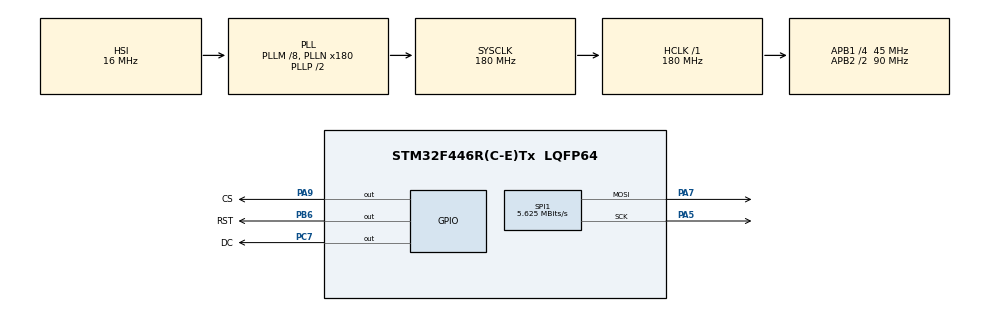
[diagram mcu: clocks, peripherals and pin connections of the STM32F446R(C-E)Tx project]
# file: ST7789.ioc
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Mcu.Family=STM32F4
Mcu.Name=STM32F446R(C-E)Tx
Mcu.Package=LQFP64
NVIC.PriorityGroup=NVIC_PRIORITYGROUP_4
PA13.Mode=Serial_Wire
PA13.Signal=SYS_JTMS-SWDIO
PA14.Mode=Serial_Wire
PA14.Signal=SYS_JTCK-SWCLK
PA5.Mode=TX_Only_Simplex_Unidirect_Master
PA5.Signal=SPI1_SCK
PA7.Mode=TX_Only_Simplex_Unidirect_Master
PA7.Signal=SPI1_MOSI
PA9.GPIO_Label=CS
PA9.GPIO_Speed=GPIO_SPEED_FREQ_VERY_HIGH
PA9.PinState=GPIO_PIN_SET
PA9.Signal=GPIO_Output
PB6.GPIO_Label=RST
PB6.GPIO_Speed=GPIO_SPEED_FREQ_VERY_HIGH
PB6.Signal=GPIO_Output
PC7.GPIO_Label=DC
PC7.GPIO_Speed=GPIO_SPEED_FREQ_VERY_HIGH
PC7.Signal=GPIO_Output
ProjectManager.HeapSize=0x200
ProjectManager.StackSize=0x400
ProjectManager.TargetToolchain=STM32CubeIDE
RCC.AHBFreq_Value=180000000
RCC.APB1CLKDivider=RCC_HCLK_DIV4
RCC.APB1Freq_Value=45000000
RCC.APB1TimFreq_Value=90000000
RCC.APB2CLKDivider=RCC_HCLK_DIV2
RCC.APB2Freq_Value=90000000
RCC.APB2TimFreq_Value=180000000
RCC.CortexFreq_Value=180000000
RCC.HCLKFreq_Value=180000000
RCC.PLLM=8
RCC.PLLN=180
RCC.SYSCLKFreq_VALUE=180000000
RCC.SYSCLKSource=RCC_SYSCLKSOURCE_PLLCLK
RCC.USBFreq_Value=180000000
RCC.VCOOutputFreq_Value=360000000
SPI1.BaudRatePrescaler=SPI_BAUDRATEPRESCALER_16
SPI1.CLKPhase=SPI_PHASE_2EDGE
SPI1.CLKPolarity=SPI_POLARITY_HIGH
SPI1.CalculateBaudRate=5.625 MBits/s
SPI1.Direction=SPI_DIRECTION_2LINES
SPI1.Mode=SPI_MODE_MASTER
SPI1.VirtualType=VM_MASTER
board=custom

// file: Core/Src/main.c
/* USER CODE BEGIN Header */
/**
  ******************************************************************************
  * @file           : main.c
  * @brief          : Main program body
  ******************************************************************************
  * @attention
  *
  * Copyright (c) 2024 STMicroelectronics.
  * All rights reserved.
  *
  * This software is licensed under terms that can be found in the LICENSE file
  * in the root directory of this software component.
  * If no LICENSE file comes with this software, it is provided AS-IS.
  *
  ******************************************************************************
  */
/* USER CODE END Header */
#include "main.h"

/* USER CODE BEGIN Includes */
#include "stdio.h"
#include "Anglas_ST7789.h"
#include "fonts.h"
#include "math.h"
#include "bitmap.h"
#include "stdio.h"

/* USER CODE END Includes */

SPI_HandleTypeDef hspi1;

/* USER CODE BEGIN PV */
uint16_t contInt=0;
float contFloat=0.0;
char buff[32];
/* USER CODE END PV */

void SystemClock_Config(void);
static void MX_GPIO_Init(void);
static void MX_SPI1_Init(void);

int main(void)
{

  /* MCU Configuration--------------------------------------------------------*/

  /* Reset of all peripherals, Initializes the Flash interface and the Systick. */
  HAL_Init();

  /* Configure the system clock */
  SystemClock_Config();

  /* Initialize all configured peripherals */
  MX_GPIO_Init();
  MX_SPI1_Init();
  /* USER CODE BEGIN 2 */
  //pin BLK conectar a +3.3v, sino no funciona bien
  ST7789_Init();
  ST7789_rotation(4);

  /*ST7789_FillScreen(ST7789_RED);
  HAL_Delay(500);
  ST7789_FillScreen(ST7789_BLUE);
  HAL_Delay(500);
  ST7789_FillScreen(ST7789_GREEN);
  HAL_Delay(500);
  ST7789_FillScreen(ST7789_CYAN);
  HAL_Delay(500);
  ST7789_FillScreen(ST7789_BLACK);
  HAL_Delay(500);
  ST7789_FillScreen(ST7789_MAGENTA);
  HAL_Delay(500);
  ST7789_FillScreen(ST7789_YELLOW);
  HAL_Delay(500);
  ST7789_FillScreen(ST7789_WHITE);
  HAL_Delay(500);*/

  //ST7789_FillScreen(RGB565(0, 10, 100));
  ST7789_DrawImage(0, 0, 320, 170, korn_320x170);
  HAL_Delay(5000);
  ST7789_DrawImage(0, 0, 320, 170, blink_320x170);
  HAL_Delay(5000);
  ST7789_DrawImage(0, 0, 320, 170, shenanigans_320x170);
  HAL_Delay(5000);

  /*ST7789_DrawImage(0, 0, 240, 135, img3);
  HAL_Delay(1000);
  ST7789_DrawImage(0, 0, 240, 135, img2);
  HAL_Delay(3000);
  ST7789_DrawImage(0, 0, 240, 135, img1);
  HAL_Delay(3000);*/

  ST7789_print(50, 20, RGB565(255, 255, 255) , RGB565(0, 80, 100) , 1, &Font_16x26, 1, "STM32 TFT" );
  ST7789_print(40, 60, RGB565(255, 0, 0) , RGB565(0, 10, 100) , 1, &Font_11x18, 1, "Anglas Library" );
  ST7789_print(10, 100, RGB565(0, 255, 0) , RGB565(0, 10, 100) , 1, &Font_7x9, 2, "ST7789 : 135x240" );

  HAL_Delay(2000);
  ST7789_SleepModeEnter();//ingresa al modo sleep, pantalla negra, supongo que aqui consume poco, aun no mido los mA
  HAL_Delay(1000);
  ST7789_SleepModeExit();//sale del modo sleep, se tiene que salir si se entra
  HAL_Delay(1000);
  ST7789_DisplayPower(1);//en 0 muestra pantalla negra y en 1 muestra lo que tenga que mostrar
  HAL_Delay(1000);
  ST7789_InversionMode(1);//en 0 invierte los colores en 1 mantiene todo normal (blanco lo vuelve negro, rojo a celeste y verde a fucsia)
  ST7789_Clear();//limpia todo y lo vuelve pantalla negra
  ST7789_FillScreen(RGB565(0, 10, 100));//pinta toda la pantalla un color

  /* USER CODE END 2 */

  /* Infinite loop */
  /* USER CODE BEGIN WHILE */
  while (1)
  {
      contInt++;
      sprintf(buff,"INT: %dmA",contInt);
      ST7789_print(50, 20, RGB565(255, 255, 255) , RGB565(0, 10, 100) , 1, &Font_16x26, 1, buff);//135x240

      contFloat+=0.1;
      sprintf(buff,"FLOAT: %4.2fV",contFloat);
      ST7789_print(40, 60, RGB565(255, 0, 0) , RGB565(0, 10, 100) , 1, &Font_11x18, 1, buff);//135x240

    /* USER CODE END WHILE */

  }
}

void SystemClock_Config(void)
{
  RCC_OscInitTypeDef RCC_OscInitStruct = {0};
  RCC_ClkInitTypeDef RCC_ClkInitStruct = {0};

  /** Configure the main internal regulator output voltage
  */
  __HAL_RCC_PWR_CLK_ENABLE();
  __HAL_PWR_VOLTAGESCALING_CONFIG(PWR_REGULATOR_VOLTAGE_SCALE1);

  /** Initializes the RCC Oscillators according to the specified parameters
  * in the RCC_OscInitTypeDef structure.
  */
  RCC_OscInitStruct.OscillatorType = RCC_OSCILLATORTYPE_HSI;
  RCC_OscInitStruct.HSIState = RCC_HSI_ON;
  RCC_OscInitStruct.HSICalibrationValue = RCC_HSICALIBRATION_DEFAULT;
  RCC_OscInitStruct.PLL.PLLState = RCC_PLL_ON;
  RCC_OscInitStruct.PLL.PLLSource = RCC_PLLSOURCE_HSI;
  RCC_OscInitStruct.PLL.PLLM = 8;
  RCC_OscInitStruct.PLL.PLLN = 180;
  RCC_OscInitStruct.PLL.PLLP = RCC_PLLP_DIV2;
  RCC_OscInitStruct.PLL.PLLQ = 2;
  RCC_OscInitStruct.PLL.PLLR = 2;
  if (HAL_RCC_OscConfig(&RCC_OscInitStruct) != HAL_OK)
  {
    Error_Handler();
  }

  /** Activate the Over-Drive mode
  */
  if (HAL_PWREx_EnableOverDrive() != HAL_OK)
  {
    Error_Handler();
  }

  /** Initializes the CPU, AHB and APB buses clocks
  */
  RCC_ClkInitStruct.ClockType = RCC_CLOCKTYPE_HCLK|RCC_CLOCKTYPE_SYSCLK
                              |RCC_CLOCKTYPE_PCLK1|RCC_CLOCKTYPE_PCLK2;
  RCC_ClkInitStruct.SYSCLKSource = RCC_SYSCLKSOURCE_PLLCLK;
  RCC_ClkInitStruct.AHBCLKDivider = RCC_SYSCLK_DIV1;
  RCC_ClkInitStruct.APB1CLKDivider = RCC_HCLK_DIV4;
  RCC_ClkInitStruct.APB2CLKDivider = RCC_HCLK_DIV2;

  if (HAL_RCC_ClockConfig(&RCC_ClkInitStruct, FLASH_LATENCY_5) != HAL_OK)
  {
    Error_Handler();
  }
}

static void MX_SPI1_Init(void)
{

  /* SPI1 parameter configuration*/
  hspi1.Instance = SPI1;
  hspi1.Init.Mode = SPI_MODE_MASTER;
  hspi1.Init.Direction = SPI_DIRECTION_2LINES;
  hspi1.Init.DataSize = SPI_DATASIZE_8BIT;
  hspi1.Init.CLKPolarity = SPI_POLARITY_HIGH;
  hspi1.Init.CLKPhase = SPI_PHASE_2EDGE;
  hspi1.Init.NSS = SPI_NSS_SOFT;
  hspi1.Init.BaudRatePrescaler = SPI_BAUDRATEPRESCALER_16;
  hspi1.Init.FirstBit = SPI_FIRSTBIT_MSB;
  hspi1.Init.TIMode = SPI_TIMODE_DISABLE;
  hspi1.Init.CRCCalculation = SPI_CRCCALCULATION_DISABLE;
  hspi1.Init.CRCPolynomial = 10;
  if (HAL_SPI_Init(&hspi1) != HAL_OK)
  {
    Error_Handler();
  }

}

static void MX_GPIO_Init(void)
{
  GPIO_InitTypeDef GPIO_InitStruct = {0};

  /* GPIO Ports Clock Enable */
  __HAL_RCC_GPIOA_CLK_ENABLE();
  __HAL_RCC_GPIOC_CLK_ENABLE();
  __HAL_RCC_GPIOB_CLK_ENABLE();

  /*Configure GPIO pin Output Level */
  HAL_GPIO_WritePin(DC_GPIO_Port, DC_Pin, GPIO_PIN_RESET);

  /*Configure GPIO pin Output Level */
  HAL_GPIO_WritePin(CS_GPIO_Port, CS_Pin, GPIO_PIN_SET);

  /*Configure GPIO pin Output Level */
  HAL_GPIO_WritePin(RST_GPIO_Port, RST_Pin, GPIO_PIN_RESET);

  /*Configure GPIO pin : DC_Pin */
  GPIO_InitStruct.Pin = DC_Pin;
  GPIO_InitStruct.Mode = GPIO_MODE_OUTPUT_PP;
  GPIO_InitStruct.Pull = GPIO_NOPULL;
  GPIO_InitStruct.Speed = GPIO_SPEED_FREQ_VERY_HIGH;
  HAL_GPIO_Init(DC_GPIO_Port, &GPIO_InitStruct);

  /*Configure GPIO pin : CS_Pin */
  GPIO_InitStruct.Pin = CS_Pin;
  GPIO_InitStruct.Mode = GPIO_MODE_OUTPUT_PP;
  GPIO_InitStruct.Pull = GPIO_NOPULL;
  GPIO_InitStruct.Speed = GPIO_SPEED_FREQ_VERY_HIGH;
  HAL_GPIO_Init(CS_GPIO_Port, &GPIO_InitStruct);

  /*Configure GPIO pin : RST_Pin */
  GPIO_InitStruct.Pin = RST_Pin;
  GPIO_InitStruct.Mode = GPIO_MODE_OUTPUT_PP;
  GPIO_InitStruct.Pull = GPIO_NOPULL;
  GPIO_InitStruct.Speed = GPIO_SPEED_FREQ_VERY_HIGH;
  HAL_GPIO_Init(RST_GPIO_Port, &GPIO_InitStruct);

}

void Error_Handler(void)
{
  __disable_irq();
  while (1)
  {
  }
}
